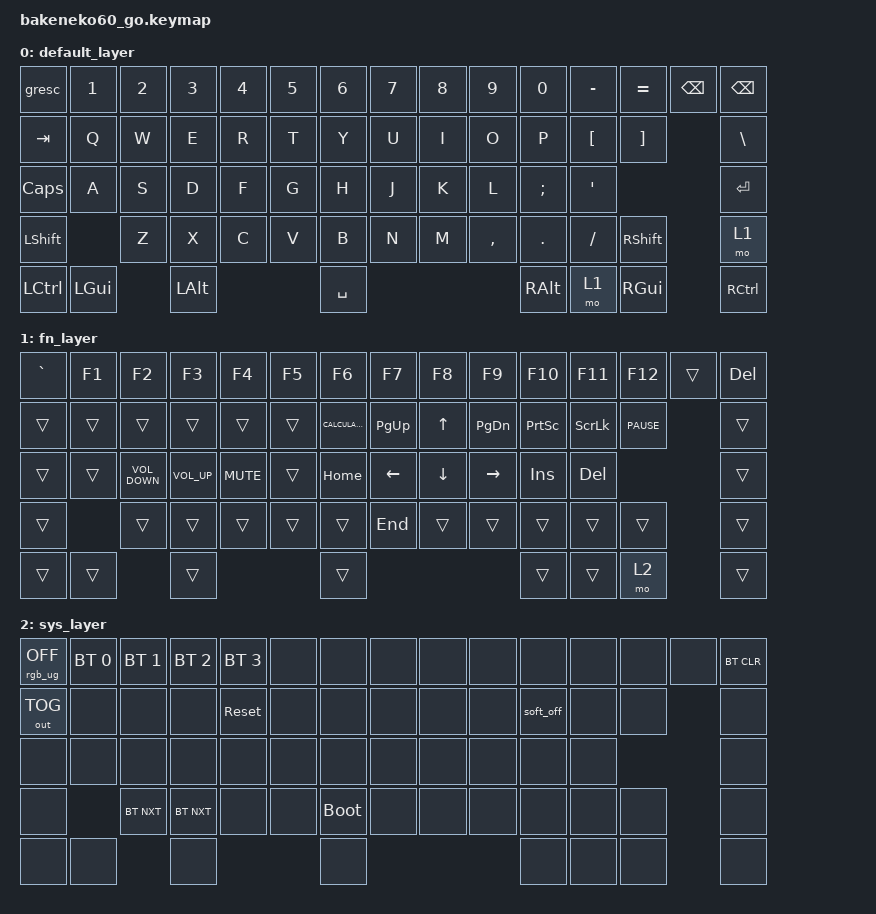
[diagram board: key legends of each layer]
/*
 * Copyright (c) 2023 Andrew Kannan
 *
 * SPDX-License-Identifier: MIT
 */

#include <behaviors.dtsi>
#include <dt-bindings/zmk/bt.h>
#include <dt-bindings/zmk/keys.h>
#include <dt-bindings/zmk/outputs.h>
#include <dt-bindings/zmk/rgb.h>

/ {
    keymap {
        compatible = "zmk,keymap";

        default_layer {
            // ------------------------------------------------------------------------------------------
            // | ESC |  1  |  2  |  3  |  4  |  5  |  6  |  7  |  8  |  9  |  0  |  -  |  =  | BKSP|BKSP|
            // | TAB  |  Q  |  W  |  E  |  R  |  T  |  Y  |  U  |  I  |  O  |  P  |  [  |  ]  |   "|"   |
            // | CAPS  |  A  |  S  |  D  |  F  |  G  |  H  |  J  |  K  |  L  |  ;  |  '  |     ENTER    |
            // |  SHIFT  |  Z  |  X  |  C  |  V  |  B  |  N  |  M  |  ,  |  .  |  /  |  SHIFT  | MO(1)  |
            // |  CTL  |  WIN  |  ALT  |            SPACE              |  ALT  |  WIN  |  MO(1) |  CTL  |
            // ------------------------------------------------------------------------------------------

            bindings = <
&gresc     &kp N1    &kp N2  &kp N3    &kp N4  &kp N5  &kp N6     &kp N7  &kp N8  &kp N9     &kp N0    &kp MINUS  &kp EQUAL  &kp BSPC  &kp BSPC
&kp TAB    &kp Q     &kp W   &kp E     &kp R   &kp T   &kp Y      &kp U   &kp I   &kp O      &kp P     &kp LBKT   &kp RBKT             &kp BSLH
&kp CLCK   &kp A     &kp S   &kp D     &kp F   &kp G   &kp H      &kp J   &kp K   &kp L      &kp SEMI  &kp SQT                         &kp RET
&kp LSHFT            &kp Z   &kp X     &kp C   &kp V   &kp B      &kp N   &kp M   &kp COMMA  &kp DOT   &kp FSLH   &kp RSHFT            &mo 1
&kp LCTRL  &kp LGUI          &kp LALT                  &kp SPACE                             &kp RALT  &mo 1      &kp RGUI             &kp RCTRL
            >;
        };

        fn_layer {
            // ------------------------------------------------------------------------------------------------
            // |    `   | F1  | F2  | F3  | F4  | F5  | F6  | F7  | F8  | F9  | F10  | F11 | F12 |     | DEL  |
            // | EFCT REV|   |  UP |   | HUEUP | SATUP | BRIUP | SPDUP |      |  PGUP |    |     |    |       |
            // | EFCT FWD | LT |  DN  | RT | HUEDN | SATDN | BRIDN | SPDDN | HOME | PGDN | END  |  | BOOTLDR  |
            // |             |     |      |      |     |     |     |     |     |     |     |         |        |
            // |         |      |      |             TOG RGB                | PRT SCR |       |       |  MO(2)|
            // ------------------------------------------------------------------------------------------------

            bindings = <
&kp GRAVE  &kp F1  &kp F2             &kp F3           &kp F4      &kp F5  &kp F6            &kp F7       &kp F8    &kp F9         &kp F10          &kp F11         &kp F12      &trans  &kp DEL
&trans     &trans  &trans             &trans           &trans      &trans  &kp K_CALCULATOR  &kp PAGE_UP  &kp UP    &kp PAGE_DOWN  &kp PRINTSCREEN  &kp SCROLLLOCK  &kp C_PAUSE          &trans
&trans     &trans  &kp C_VOLUME_DOWN  &kp C_VOLUME_UP  &kp K_MUTE  &trans  &kp HOME          &kp LEFT     &kp DOWN  &kp RIGHT      &kp INSERT       &kp DELETE                           &trans
&trans             &trans             &trans           &trans      &trans  &trans            &kp END      &trans    &trans         &trans           &trans          &trans               &trans
&trans     &trans                     &trans                               &trans                                                  &trans           &trans          &mo 2                &trans
            >;
        };

        sys_layer {
            // ------------------------------------------------------------------------------------------------
            // | BT CLR |     |     |     |     |     |     |     |     |     |     |    |    |       |       |
            // |  BT 1   |   |     |   |       |       |       |       |   |     |    |     |     |           |
            // |   BT 2   |    |      |    |       |       |       |       |      |      |      |  |   Reset  |
            // |    BT 3     |     |      |      |     |     |     |     |     |     |     |         |        |
            // |   BT 4  |      |      |                                    |         |       |       |       |
            // ------------------------------------------------------------------------------------------------

            bindings = <
&rgb_ug RGB_OFF  &bt BT_SEL 0  &bt BT_SEL 1  &bt BT_SEL 2  &bt BT_SEL 3  &none  &none        &none  &none  &none  &none      &none  &none  &none  &bt BT_CLR
&out OUT_TOG     &none         &none         &none         &sys_reset    &none  &none        &none  &none  &none  &soft_off  &none  &none         &none
&none            &none         &none         &none         &none         &none  &none        &none  &none  &none  &none      &none                &none
&none                          &bt BT_NXT    &bt BT_NXT    &none         &none  &bootloader  &none  &none  &none  &none      &none  &none         &none
&none            &none                       &none                              &none                             &none      &none  &none         &none
            >;
        };
    };

    combos { compatible = "zmk,combos"; };
};
